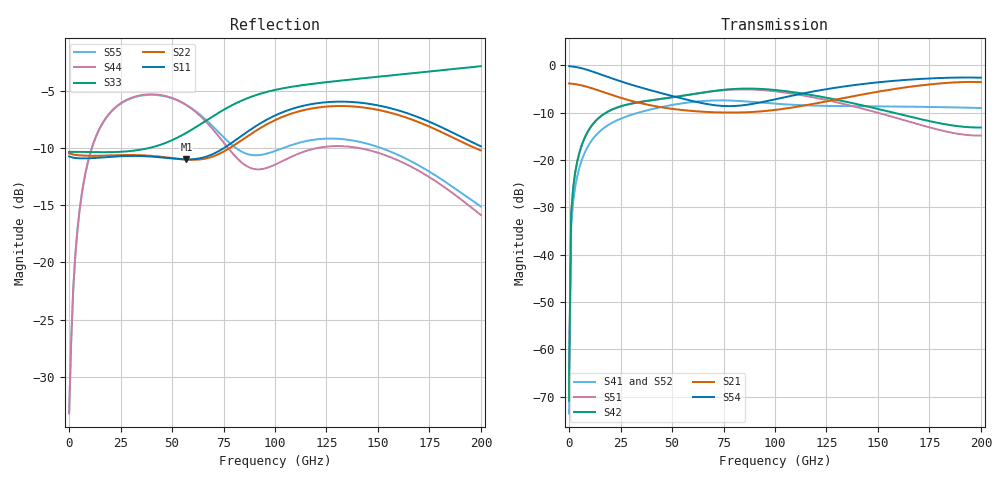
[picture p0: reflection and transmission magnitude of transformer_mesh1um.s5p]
! Created with skrf 2.1.0 (http://scikit-rf.org).
# GHz S DB R 50.0
! Port[1] = P1
! Port[2] = P2
! Port[3] = P3
! Port[4] = P4
! Port[5] = P5
!freq dBS11 angS11 dBS12 angS12 dBS13 angS13
! dBS14 angS14 dBS15 angS15
! dBS21 angS21 dBS22 angS22 dBS23 angS23
! dBS24 angS24 dBS25 angS25
! dBS31 angS31 dBS32 angS32 dBS33 angS33
! dBS34 angS34 dBS35 angS35
! dBS41 angS41 dBS42 angS42 dBS43 angS43
! dBS44 angS44 dBS45 angS45
! dBS51 angS51 dBS52 angS52 dBS53 angS53
! dBS54 angS54 dBS55 angS55
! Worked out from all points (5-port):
!   202 points, 10 MHz to 200 GHz, reference 50 ohm
!   strongest paths, dB at 10 MHz, 49 GHz, 100 GHz, 150 GHz, 200 GHz:
!     S54: -0.2, -6.4, -7.2, -3.6, -2.6
!     S21: -3.8, -9.1, -9.4, -5.6, -3.6
!     S42: -70.9, -6.8, -5.2, -9.2, -13.1
!     S51: -70.9, -6.8, -5.5, -10.0, -14.9
!     S41: -73.5, -8.5, -8.1, -8.7, -9.0
!     S52: -73.5, -8.5, -8.1, -8.8, -9.3
!   lowest |S11| = -11.0 dB at 57 GHz (marker M1), VSWR 1.79, Z = 72.7 + j27.2 ohm
!   |S11| at or under -10 dB: start of sweep to 75.23 GHz
